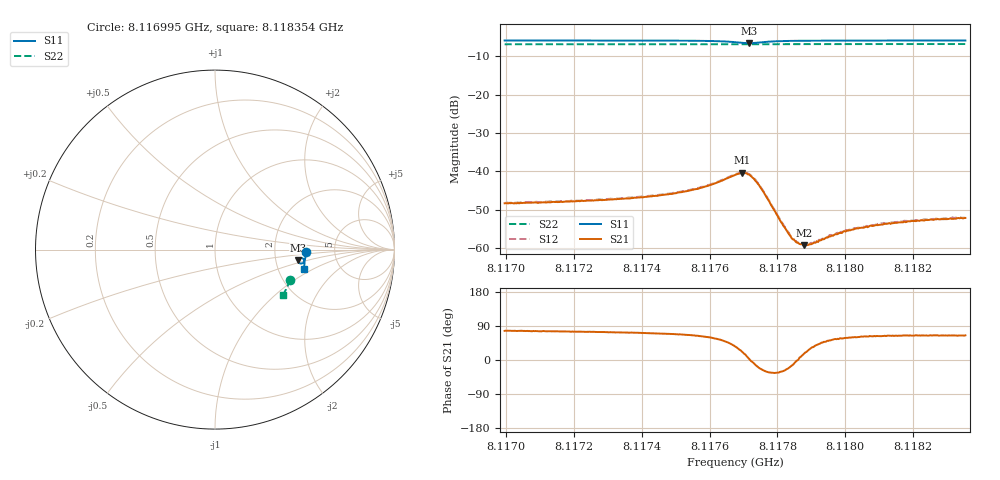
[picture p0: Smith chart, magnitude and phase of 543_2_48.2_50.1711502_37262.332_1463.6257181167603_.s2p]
#  HZ  S  RI  R  50.00
! Rohde & Schwarz Vector Network Analyzer
! Rohde-Schwarz,ZNB20-2Port,1311601062101988,3.16
! Created: UTC 3/20/2024, 12:00:22 PM
! freq[Hz]  re:S11  im:S11  re:S21  im:S21  re:S12  im:S12  re:S22  im:S22
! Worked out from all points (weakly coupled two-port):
!   401 points, 8.116995 GHz to 8.118354 GHz, reference 50 ohm
!   highest |S21| = -40.36 dB at 8.117695 GHz (marker M1); lowest = -59.3 dB at 8.117879 GHz (marker M2)
!   lowest |S11| = -6.6 dB at 8.117716 GHz (marker M3), VSWR 2.75, Z = 134 - j20.6 ohm
!   |S11| at or under -10 dB: nowhere
!   |S22| runs from -6.9 to -6.8 dB; largest |S21 - S12| = 0.0003
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8.116995e9  0.5062 -0.0154  0.000875 0.00374  0.000881 0.00379  0.419 -0.1682
8.1172227e9  0.5049 -0.0335  0.0011 0.004  0.00114 0.00402  0.4133 -0.183
8.1173518e9  0.5036 -0.0445  0.00132 0.00423  0.00137 0.00426  0.4099 -0.1913
8.1174504e9  0.5019 -0.0535  0.00165 0.00457  0.00171 0.00465  0.407 -0.1978
8.1175694e9  0.4969 -0.0667  0.00273 0.00537  0.00279 0.00544  0.4034 -0.2055
8.1176169e9  0.4916 -0.0732  0.00388 0.00585  0.00399 0.00596  0.4019 -0.2087
8.1176747e9  0.4751 -0.0774  0.00727 0.00528  0.00743 0.00536  0.3993 -0.212
8.1176951e9  0.4665 -0.0719  0.00889 0.0036  0.009 0.00354  0.3984 -0.2129
8.1177155e9  0.463 -0.0603  0.00913 0.000683  0.00924 0.000573  0.3979 -0.2136
8.1177291e9  0.4665 -0.0522  0.00805 -0.00105  0.00821 -0.00125  0.3977 -0.2141
8.1177495e9  0.476 -0.0463  0.00572 -0.00242  0.00583 -0.00252  0.3977 -0.2152
8.1178107e9  0.4939 -0.054  0.00187 -0.00112  0.00191 -0.00121  0.3965 -0.2193
8.1178379e9  0.4965 -0.0589  0.00138 -0.000448  0.00138 -0.000452  0.3957 -0.2212
8.1178583e9  0.4975 -0.0622  0.00119 -2.19e-05  0.00117 -2.54e-05  0.395 -0.2226
8.1178786e9  0.4981 -0.0649  0.00104 0.000314  0.00107 0.000273  0.3945 -0.2239
8.1179024e9  0.4986 -0.0681  0.00095 0.000635  0.000966 0.000632  0.3937 -0.2255
8.1179602e9  0.4988 -0.0748  0.000877 0.00117  0.00089 0.00118  0.3919 -0.2293
8.118001e9  0.4984 -0.079  0.000863 0.0014  0.000929 0.00144  0.3906 -0.2318
8.1180316e9  0.4982 -0.0818  0.000901 0.00155  0.000905 0.00157  0.3896 -0.2337
8.1181302e9  0.497 -0.0904  0.000926 0.00191  0.000965 0.00194  0.3861 -0.2398
8.1182491e9  0.4952 -0.1002  0.000994 0.00212  0.000998 0.00214  0.3819 -0.2471
8.1183545e9  0.4936 -0.1084  0.00104 0.00224  0.00109 0.00226  0.378 -0.2535
